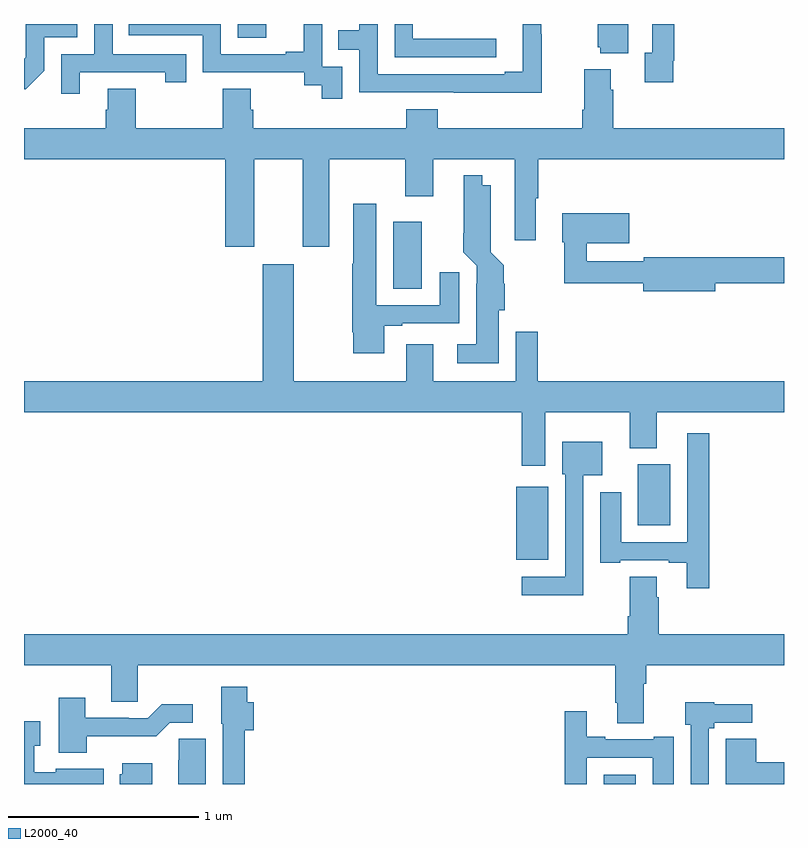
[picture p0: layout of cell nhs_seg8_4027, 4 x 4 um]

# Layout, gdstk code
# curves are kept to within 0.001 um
import gdstk
lib = gdstk.Library(unit=1e-6, precision=1e-09)
def R(c, l, rs):  # rectangles x0, y0, x1, y1
    for r in rs: c.add(gdstk.rectangle(r[:2], r[2:], *l))
def P(c, l, *ps):  # polygons
    for p in ps: c.add(gdstk.Polygon(p, *l))
L2000_40 = (2000, 40)

nhs_seg8_4027 = lib.new_cell('nhs_seg8_4027')
R(nhs_seg8_4027, L2000_40, [(362.051,1091.9,362.221,1091.95), (361.592,1093.079,361.759,1093.465), (362.231,1093.262,362.401,1093.582), (360.944,1094.506,361.093,1094.86), (360.126,1095.828,360.274,1095.9)])
P(nhs_seg8_4027, L2000_40, [(359.293,1095.645),(359.744,1095.645),(359.744,1095.594),(359.855,1095.594),(359.855,1095.741),(359.466,1095.741),(359.466,1095.9),(359.37,1095.9),(359.37,1095.741),(359.196,1095.741),(359.196,1095.534),(359.293,1095.534)],
  [(362.416,1095.706),(362.423,1095.706),(362.423,1095.9),(362.307,1095.9),(362.307,1095.75),(362.267,1095.75),(362.267,1095.594),(362.416,1095.594)],
  [(361.486,1095.822),(361.047,1095.822),(361.047,1095.9),(360.951,1095.9),(360.951,1095.726),(361.486,1095.726)],
  [(362.179,1095.9),(362.021,1095.9),(362.021,1095.777),(362.033,1095.777),(362.033,1095.746),(362.179,1095.746)],
  [(359.106,1095.654),(359.106,1095.831),(359.28,1095.831),(359.28,1095.9),(359.01,1095.9),(359.01,1095.726),(359,1095.716),(359,1095.557),(359.008,1095.557)],
  [(360.675,1095.675),(360.57,1095.675),(360.57,1095.9),(360.473,1095.9),(360.473,1095.754),(360.377,1095.754),(360.377,1095.741),(360.036,1095.741),(360.036,1095.9),(359.551,1095.9),(359.551,1095.84),(359.94,1095.84),(359.94,1095.645),(360.474,1095.645),(360.474,1095.577),(360.567,1095.577),(360.567,1095.507),(360.675,1095.507)],
  [(361.725,1095.845),(361.722,1095.845),(361.722,1095.9),(361.626,1095.9),(361.626,1095.649),(361.529,1095.649),(361.529,1095.636),(360.861,1095.636),(360.861,1095.9),(360.765,1095.9),(360.765,1095.866),(360.655,1095.866),(360.655,1095.765),(360.765,1095.765),(360.765,1095.54),(361.261,1095.54),(361.261,1095.539),(361.725,1095.539)],
  [(360.211,1095.188),(360.467,1095.188),(360.467,1094.727),(360.607,1094.727),(360.607,1095.188),(361.006,1095.188),(361.006,1094.994),(361.153,1094.994),(361.153,1095.188),(361.583,1095.188),(361.583,1094.763),(361.693,1094.763),(361.693,1094.984),(361.706,1094.984),(361.706,1095.188),(363,1095.188),(363,1095.352),(362.102,1095.352),(362.102,1095.554),(362.089,1095.554),(362.089,1095.661),(361.949,1095.661),(361.949,1095.448),(361.937,1095.448),(361.937,1095.352),(361.178,1095.352),(361.178,1095.451),(361.013,1095.451),(361.013,1095.352),(360.206,1095.352),(360.206,1095.45),(360.193,1095.45),(360.193,1095.56),(360.046,1095.56),(360.046,1095.352),(359.589,1095.352),(359.589,1095.56),(359.441,1095.56),(359.441,1095.45),(359.429,1095.45),(359.429,1095.352),(359,1095.352),(359,1095.188),(360.059,1095.188),(360.059,1094.727),(360.211,1094.727)],
  [(361.498,1094.394),(361.529,1094.394),(361.529,1094.534),(361.524,1094.534),(361.524,1094.631),(361.457,1094.698),(361.456,1095.052),(361.411,1095.052),(361.411,1095.103),(361.314,1095.103),(361.313,1094.698),(361.383,1094.628),(361.383,1094.534),(361.379,1094.534),(361.379,1094.215),(361.281,1094.215),(361.281,1094.114),(361.498,1094.114)],
  [(360.895,1094.313),(360.991,1094.313),(360.991,1094.325),(361.291,1094.325),(361.291,1094.593),(361.187,1094.593),(361.187,1094.421),(360.853,1094.421),(360.853,1094.953),(360.734,1094.953),(360.734,1094.639),(360.727,1094.639),(360.727,1094.278),(360.734,1094.278),(360.734,1094.166),(360.895,1094.166)],
  [(362.638,1094.536),(363,1094.536),(363,1094.672),(362.262,1094.672),(362.262,1094.652),(361.961,1094.652),(361.961,1094.747),(362.185,1094.747),(362.185,1094.905),(361.832,1094.905),(361.832,1094.751),(361.844,1094.751),(361.844,1094.536),(362.258,1094.536),(362.258,1094.494),(362.638,1094.494)],
  [(361.744,1093.856),(362.189,1093.856),(362.189,1093.667),(362.329,1093.667),(362.329,1093.856),(363,1093.856),(363,1094.02),(361.703,1094.02),(361.703,1094.281),(361.587,1094.281),(361.587,1094.02),(361.153,1094.02),(361.153,1094.215),(361.013,1094.215),(361.013,1094.02),(360.421,1094.02),(360.421,1094.635),(360.257,1094.635),(360.257,1094.02),(359,1094.02),(359,1093.856),(361.619,1093.856),(361.619,1093.575),(361.744,1093.575)],
  [(362.606,1093.747),(362.49,1093.747),(362.49,1093.173),(362.143,1093.173),(362.143,1093.435),(362.033,1093.435),(362.033,1093.065),(362.137,1093.065),(362.137,1093.077),(362.393,1093.077),(362.393,1093.065),(362.489,1093.065),(362.489,1092.93),(362.606,1092.93)],
  [(361.944,1093.526),(362.044,1093.526),(362.044,1093.702),(361.832,1093.702),(361.832,1093.53),(361.848,1093.53),(361.848,1092.99),(361.62,1092.99),(361.62,1092.893),(361.944,1092.893)],
  [(362.263,1092.428),(362.276,1092.428),(362.276,1092.524),(363,1092.524),(363,1092.688),(362.342,1092.688),(362.342,1092.884),(362.329,1092.884),(362.329,1092.992),(362.189,1092.992),(362.189,1092.784),(362.177,1092.784),(362.177,1092.688),(359,1092.688),(359,1092.524),(359.459,1092.524),(359.459,1092.334),(359.598,1092.334),(359.598,1092.524),(362.111,1092.524),(362.111,1092.328),(362.123,1092.328),(362.123,1092.22),(362.263,1092.22)],
  [(360.161,1092.182),(360.209,1092.182),(360.209,1092.33),(360.174,1092.33),(360.174,1092.412),(360.038,1092.412),(360.038,1092.216),(360.045,1092.216),(360.045,1091.9),(360.161,1091.9)],
  [(359.331,1092.152),(359.695,1092.152),(359.766,1092.222),(359.887,1092.222),(359.887,1092.319),(359.725,1092.319),(359.652,1092.246),(359.552,1092.246),(359.552,1092.249),(359.323,1092.249),(359.323,1092.355),(359.183,1092.355),(359.183,1092.065),(359.331,1092.065)],
  [(362.604,1092.194),(362.634,1092.194),(362.634,1092.222),(362.833,1092.222),(362.833,1092.32),(362.634,1092.32),(362.634,1092.331),(362.48,1092.331),(362.48,1092.213),(362.508,1092.213),(362.508,1091.9),(362.604,1091.9)],
  [(361.962,1092.039),(362.309,1092.039),(362.309,1091.9),(362.419,1091.9),(362.419,1092.148),(362.315,1092.148),(362.315,1092.135),(362.059,1092.135),(362.059,1092.148),(361.963,1092.148),(361.963,1092.283),(361.846,1092.283),(361.846,1091.9),(361.962,1091.9)],
  [(359.42,1091.98),(359.166,1091.98),(359.166,1091.961),(359.055,1091.961),(359.055,1092.101),(359.086,1092.101),(359.086,1092.231),(359,1092.231),(359,1091.9),(359.42,1091.9)],
  [(359.956,1092.137),(359.814,1092.137),(359.814,1092.026),(359.813,1092.026),(359.813,1091.9),(359.956,1091.9)],
  [(363,1092.014),(362.855,1092.014),(362.855,1092.137),(362.693,1092.137),(362.693,1091.9),(363,1091.9)],
  [(359.674,1092.01),(359.516,1092.01),(359.516,1091.952),(359.505,1091.952),(359.505,1091.9),(359.674,1091.9)])

lib.write_gds('nhs_seg8_4027.gds')
